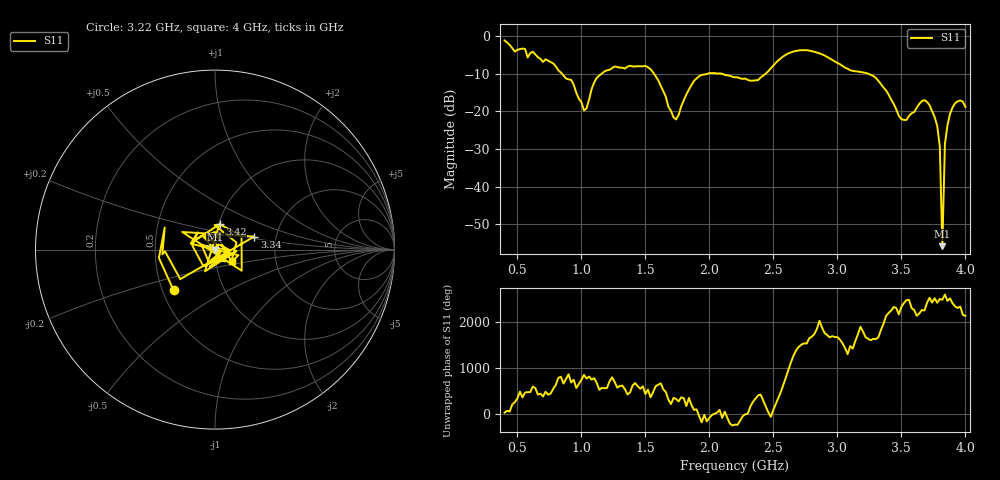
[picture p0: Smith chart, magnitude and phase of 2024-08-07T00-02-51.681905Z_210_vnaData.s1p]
!Created with skrf (http://scikit-rf.org).
# Hz S RI R 50.0
!freq ReS11 ImS11
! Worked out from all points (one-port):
!   181 points, 400 MHz to 4 GHz, reference 50 ohm
!   lowest |S11| = -55.8 dB at 3.82 GHz (marker M1), VSWR 1.00, Z = 50.1 - j0.119 ohm
!   |S11| at or under -10 dB: 1.567 GHz to 1.988 GHz (421.2 MHz wide, 23.7 % of centre); 2.093 GHz to 2.44 GHz (347.4 MHz wide, 15.3 % of centre); 3.239 GHz to end of sweep (the widest 3 of 4)
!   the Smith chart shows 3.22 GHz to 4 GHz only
!   S11 on the Smith chart (normalised r, x): 3.22 GHz: 0.57, -0.29; 3.34 GHz: 1.54, +0.24; 3.42 GHz: 1.01, +0.29; 4 GHz: 1.20, -0.16
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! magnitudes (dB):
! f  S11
! 400 MHz  -1.2
! 860 MHz  -10.5
! 920 MHz  -11.7
! 1.02 GHz  -19.8
! 1.12 GHz  -11.1
! 1.3 GHz  -8.4
! 1.54 GHz  -8.8
! 1.72 GHz  -21.6
! 1.76 GHz  -20.9
! 1.92 GHz  -10.7
! 2.2 GHz  -11.0
! 2.38 GHz  -11.7
! 2.66 GHz  -4.1
! 2.86 GHz  -4.6
! 3.1 GHz  -9.1
! 3.22 GHz  -9.8
! 3.34 GHz  -12.8
! 3.42 GHz  -16.9
! 3.5 GHz  -22.1
! 3.56 GHz  -21.2
! 3.68 GHz  -17.0
! 3.78 GHz  -23.9
! 3.8 GHz  -29.3
! 3.82 GHz  -55.8
! 3.84 GHz  -28.7
! 3.86 GHz  -23.7
! 3.92 GHz  -17.8
! 4 GHz  -18.8
